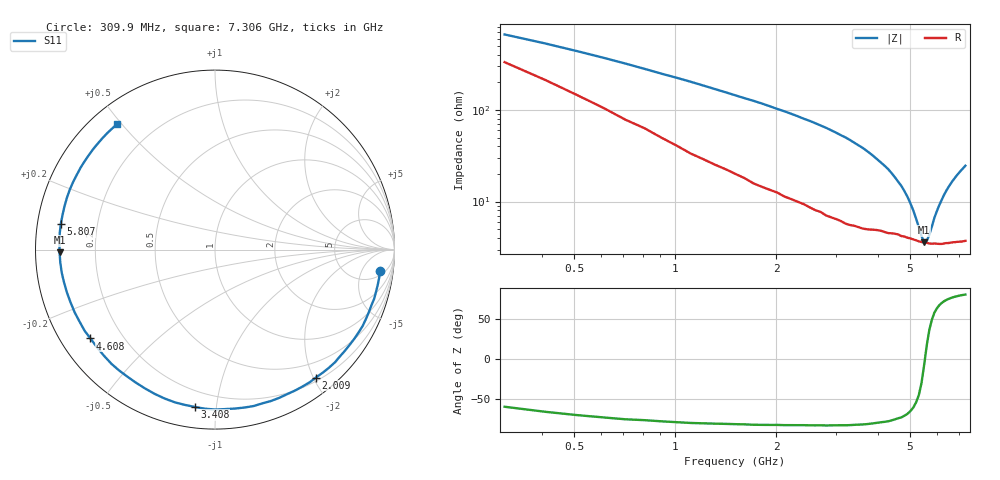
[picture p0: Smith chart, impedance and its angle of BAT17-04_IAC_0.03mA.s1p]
! Infineon Technologies  Discrete & RF Semiconductors
! BAT17-04
! IAC = 0.03 mA
! One-Port S-Parameters
# Hz  S  MA  R  50
!f  S11
!Hz  Mag  Ang
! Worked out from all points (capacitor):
!   71 points, 309.9 MHz to 7.306 GHz, reference 50 ohm
!   read as one part to ground: C = 794 fF near 309.9 MHz
!   lowest |Z| = 3.61 ohm at 5.507 GHz (marker M1)
!   series resonance near 5.536 GHz, so ESL is about 1 nH
!   S11 on the Smith chart (normalised r, x): 309.9 MHz: 7, -12; 2.009 GHz: 0.25, -2.04; 3.408 GHz: 0.11, -0.87; 4.608 GHz: 0.09, -0.32; 5.807 GHz: 0.07, +0.08; 7.306 GHz: 0.07, +0.49
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3.0985e8  0.928 -7.5
7.0965e8  0.9281 -17.2
1.2094e9  0.9235 -30.0
1.70915e9  0.9171 -43.2
2.009e9  0.9078 -51.8
2.10895e9  0.9082 -54.5
2.6087e9  0.8993 -69.7
2.8086e9  0.8978 -76.0
3.0085e9  0.8924 -82.9
3.2084e9  0.8911 -89.8
3.4083e9  0.8838 -97.4
3.6082e9  0.8798 -104.7
3.8081e9  0.8712 -112.8
4.008e9  0.8622 -121.0
4.30785e9  0.859 -132.2
4.6077e9  0.8526 -144.5
4.70765e9  0.8557 -148.0
4.90755e9  0.8565 -155.9
5.10745e9  0.8589 -163.8
5.30735e9  0.8635 -171.3
5.50725e9  0.8662 -179.0
5.6072e9  0.8675 177.4
5.8071e9  0.871 170.6
5.90705e9  0.8711 167.0
6.2069e9  0.8753 157.7
6.50675e9  0.877 148.7
6.90655e9  0.8807 137.8
7.30635e9  0.8863 127.9
